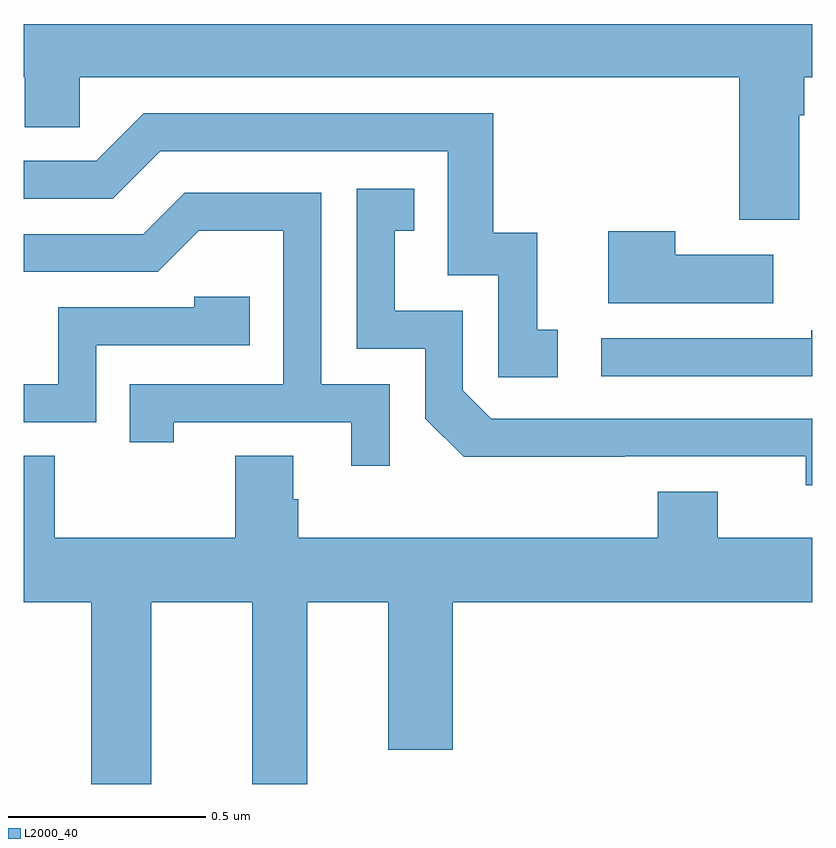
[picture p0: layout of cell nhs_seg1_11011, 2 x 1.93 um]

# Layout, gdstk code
import gdstk
lib = gdstk.Library(unit=1e-6, precision=1e-09)
def P(c, l, *ps):  # polygons
    for p in ps: c.add(gdstk.Polygon(p, *l))
L2000_40 = (2000, 40)

nhs_seg1_11011 = lib.new_cell('nhs_seg1_11011')
P(nhs_seg1_11011, L2000_40, [(249.967,552.968),(249.98,552.968),(249.98,553.064),(250,553.064),(250,553.199),(248,553.199),(248,553.064),(248.003,553.064),(248.003,552.937),(248.142,552.937),(248.142,553.064),(249.815,553.064),(249.815,552.702),(249.967,552.702)],
  [(249.355,552.423),(249.302,552.423),(249.302,552.67),(249.191,552.67),(249.191,552.972),(248.304,552.972),(248.184,552.852),(248,552.852),(248,552.756),(248.226,552.756),(248.346,552.876),(249.075,552.876),(249.075,552.561),(249.204,552.561),(249.204,552.303),(249.355,552.303)],
  [(250,552.198),(249.186,552.198),(249.114,552.27),(249.114,552.471),(248.941,552.471),(248.941,552.675),(248.99,552.675),(248.99,552.781),(248.844,552.781),(248.844,552.375),(249.018,552.375),(249.018,552.198),(249.116,552.101),(249.524,552.101),(249.524,552.102),(249.984,552.102),(249.984,552.029),(250,552.029)],
  [(248.928,552.285),(248.754,552.285),(248.754,552.771),(248.408,552.771),(248.303,552.666),(248,552.666),(248,552.57),(248.34,552.57),(248.444,552.674),(248.658,552.674),(248.658,552.285),(248.269,552.285),(248.269,552.138),(248.38,552.138),(248.38,552.189),(248.831,552.189),(248.831,552.078),(248.928,552.078)],
  [(249.901,552.613),(249.653,552.613),(249.653,552.673),(249.482,552.673),(249.482,552.491),(249.901,552.491)],
  [(248.184,552.384),(248.573,552.384),(248.573,552.507),(248.433,552.507),(248.433,552.48),(248.088,552.48),(248.088,552.285),(248,552.285),(248,552.189),(248.184,552.189)],
  [(250,552.422),(249.997,552.422),(249.997,552.402),(249.465,552.402),(249.465,552.306),(250,552.306)],
  [(248.323,551.732),(248.579,551.732),(248.579,551.271),(248.719,551.271),(248.719,551.732),(248.924,551.732),(248.924,551.358),(249.088,551.358),(249.088,551.732),(250,551.732),(250,551.896),(249.76,551.896),(249.76,552.013),(249.608,552.013),(249.608,551.896),(248.696,551.896),(248.696,551.994),(248.683,551.994),(248.683,552.104),(248.536,552.104),(248.536,551.896),(248.079,551.896),(248.079,552.104),(248,552.104),(248,551.732),(248.171,551.732),(248.171,551.271),(248.323,551.271)])

lib.write_gds('nhs_seg1_11011.gds')
